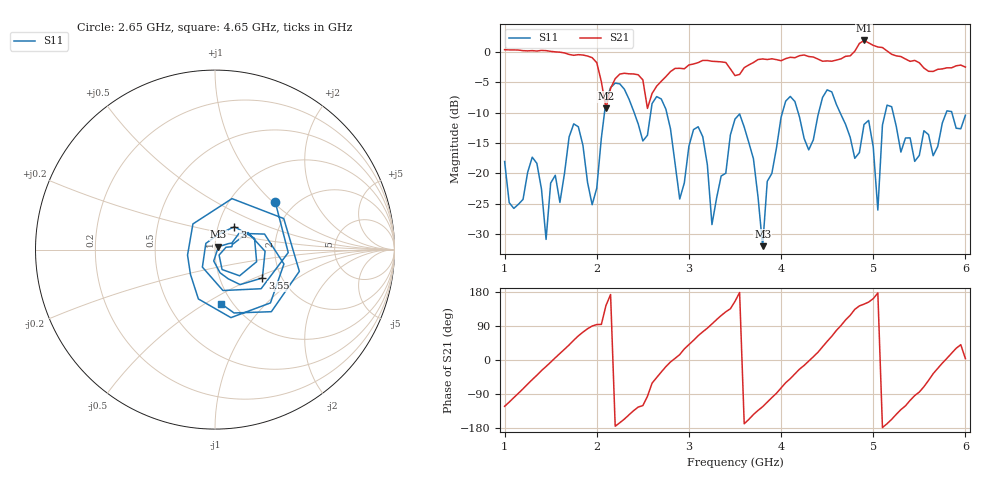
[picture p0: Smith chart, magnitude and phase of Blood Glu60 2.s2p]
! NanoVNA-App
! Date: 2024-03-21 12:30:20
! Start: 1GHz Stop: 6GHz Points: 101
! S-Parameter data: F S11 S21 S12 S22
# Hz S RI R 50
!	Frequency	S11_Real	S11_Imag	S21_Real	S21_Imag	S12_Real	S12_Imag	S22_Real	S22_Imag
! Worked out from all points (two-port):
!   101 points, 1 GHz to 6 GHz, reference 50 ohm
!   highest |S21| = 1.83 dB at 4.9 GHz (marker M1); lowest = -9.3 dB at 2.1 GHz (marker M2)
!   |S21| within 3 dB of the highest: start of sweep to 1.961 GHz; 4.653 GHz to 5.344 GHz (691.7 MHz wide, 13.8 % of centre)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
!   lowest |S11| = -32.0 dB at 3.8 GHz (marker M3), VSWR 1.05, Z = 51.9 + j1.69 ohm
!   |S11| at or under -10 dB: start of sweep to 2.084 GHz; 2.759 GHz to 4.015 GHz (1.256 GHz wide, 37.1 % of centre); 5.215 GHz to 5.793 GHz (578.4 MHz wide, 10.5 % of centre)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
!   S12 and S22 are empty: the file has one direction only
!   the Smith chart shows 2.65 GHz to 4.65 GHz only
!   S11 on the Smith chart (normalised r, x): 2.65 GHz: 1.60, +1.03; 3 GHz: 1.20, +0.32; 3.55 GHz: 1.60, -0.56; 4.65 GHz: 0.89, -0.59
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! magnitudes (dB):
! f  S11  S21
! 1 GHz  -18.0  0.3
! 1.35 GHz  -18.4  0.1
! 1.45 GHz  -30.8  0.2
! 1.85 GHz  -15.4  -0.6
! 1.95 GHz  -25.1  -1.0
! 2.1 GHz  -8.1  -9.3
! 2.65 GHz  -7.4  -5.7
! 2.7 GHz  -7.8  -4.9
! 2.9 GHz  -24.2  -2.7
! 3 GHz  -15.5  -2.2
! 3.15 GHz  -14.0  -1.4
! 3.25 GHz  -28.4  -1.6
! 3.5 GHz  -11.1  -3.9
! 3.55 GHz  -10.2  -3.8
! 3.8 GHz  -32.0  -1.2
! 4.05 GHz  -8.1  -1.1
! 4.35 GHz  -14.5  -0.9
! 4.65 GHz  -10.3  -1.2
! 4.9 GHz  -12.0  1.8
! 5.05 GHz  -26.0  0.8
! 5.2 GHz  -9.0  -0.4
! 6 GHz  -10.5  -2.5
